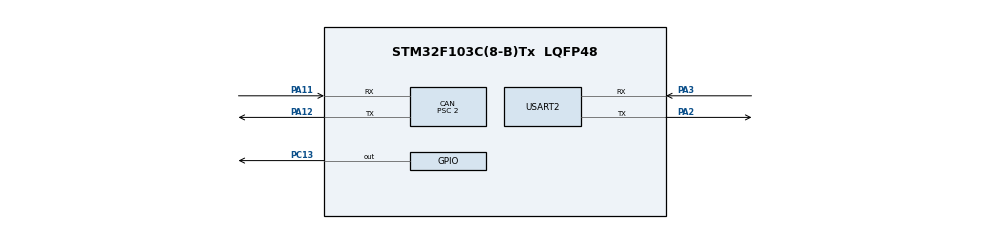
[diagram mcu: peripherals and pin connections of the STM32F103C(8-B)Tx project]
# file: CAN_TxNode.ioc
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CAN.BS1=CAN_BS1_13TQ
CAN.BS2=CAN_BS2_2TQ
CAN.CalculateBaudRate=250000
CAN.CalculateTimeBit=4000
CAN.CalculateTimeQuantum=250.0
CAN.NART=DISABLE
CAN.Prescaler=2
Mcu.Family=STM32F1
Mcu.Name=STM32F103C(8-B)Tx
Mcu.Package=LQFP48
NVIC.PriorityGroup=NVIC_PRIORITYGROUP_4
PA11.Mode=CAN_Activate
PA11.Signal=CAN_RX
PA12.Mode=CAN_Activate
PA12.Signal=CAN_TX
PA13.Mode=Serial_Wire
PA13.Signal=SYS_JTMS-SWDIO
PA14.Mode=Serial_Wire
PA14.Signal=SYS_JTCK-SWCLK
PA2.Mode=Asynchronous
PA2.Signal=USART2_TX
PA3.Mode=Asynchronous
PA3.Signal=USART2_RX
PC13-TAMPER-RTC.Signal=GPIO_Output
ProjectManager.HeapSize=0x200
ProjectManager.StackSize=0x400
ProjectManager.TargetToolchain=CMake
RCC.APB1Freq_Value=8000000
RCC.APB2Freq_Value=8000000
USART2.VirtualMode=VM_ASYNC
board=custom

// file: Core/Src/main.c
/* USER CODE BEGIN Header */
/**
  ******************************************************************************
  * @file           : main.c
  * @brief          : Main program body
  ******************************************************************************
  * @attention
  *
  * Copyright (c) 2025 STMicroelectronics.
  * All rights reserved.
  *
  * This software is licensed under terms that can be found in the LICENSE file
  * in the root directory of this software component.
  * If no LICENSE file comes with this software, it is provided AS-IS.
  *
  ******************************************************************************
  */
/* USER CODE END Header */
#include "main.h"

CAN_HandleTypeDef hcan;

UART_HandleTypeDef huart2;

void SystemClock_Config(void);
static void MX_GPIO_Init(void);
static void MX_CAN_Init(void);
static void MX_USART2_UART_Init(void);
/* USER CODE BEGIN PFP */
// void CAN_Tx(void);

/* USER CODE END PFP */

/* USER CODE BEGIN 0 */
void CAN_Filter(void);
void SendMotorCANMessage(uint8_t motor_id, uint8_t direction, uint8_t speed);

/* USER CODE END 0 */

int main(void)
{

  /* MCU Configuration--------------------------------------------------------*/

  /* Reset of all peripherals, Initializes the Flash interface and the Systick. */
  HAL_Init();

  /* Configure the system clock */
  SystemClock_Config();

  /* Initialize all configured peripherals */
  MX_GPIO_Init();
  MX_CAN_Init();
  MX_USART2_UART_Init();
  /* USER CODE BEGIN 2 */

  CAN_Filter();
  HAL_CAN_Start(&hcan);

  /* USER CODE END 2 */

  /* Infinite loop */
  while (1)
  {
    // CAN_Tx();
    for(int i = 0 ; i <= 100 ; i++){
      SendMotorCANMessage(0,0,i);
      HAL_Delay(50);
    }

    for(int i = 100 ; i >= 0 ; i--){
      SendMotorCANMessage(0,1,i);
      HAL_Delay(50);
    }

    for(int i = 0 ; i <= 100 ; i++){
      SendMotorCANMessage(1,0,i);
      HAL_Delay(50);
    }

    for(int i = 100 ; i >= 10 ; i--){
      SendMotorCANMessage(1,1,i);
      HAL_Delay(50);
    }
  }
}

void SystemClock_Config(void)
{
  RCC_OscInitTypeDef RCC_OscInitStruct = {0};
  RCC_ClkInitTypeDef RCC_ClkInitStruct = {0};

  /** Initializes the RCC Oscillators according to the specified parameters
  * in the RCC_OscInitTypeDef structure.
  */
  RCC_OscInitStruct.OscillatorType = RCC_OSCILLATORTYPE_HSI;
  RCC_OscInitStruct.HSIState = RCC_HSI_ON;
  RCC_OscInitStruct.HSICalibrationValue = RCC_HSICALIBRATION_DEFAULT;
  RCC_OscInitStruct.PLL.PLLState = RCC_PLL_NONE;
  if (HAL_RCC_OscConfig(&RCC_OscInitStruct) != HAL_OK)
  {
    Error_Handler();
  }

  /** Initializes the CPU, AHB and APB buses clocks
  */
  RCC_ClkInitStruct.ClockType = RCC_CLOCKTYPE_HCLK|RCC_CLOCKTYPE_SYSCLK
                              |RCC_CLOCKTYPE_PCLK1|RCC_CLOCKTYPE_PCLK2;
  RCC_ClkInitStruct.SYSCLKSource = RCC_SYSCLKSOURCE_HSI;
  RCC_ClkInitStruct.AHBCLKDivider = RCC_SYSCLK_DIV1;
  RCC_ClkInitStruct.APB1CLKDivider = RCC_HCLK_DIV1;
  RCC_ClkInitStruct.APB2CLKDivider = RCC_HCLK_DIV1;

  if (HAL_RCC_ClockConfig(&RCC_ClkInitStruct, FLASH_LATENCY_0) != HAL_OK)
  {
    Error_Handler();
  }
}

static void MX_CAN_Init(void)
{

  hcan.Instance = CAN1;
  hcan.Init.Prescaler = 2;
  hcan.Init.Mode = CAN_MODE_NORMAL;
  hcan.Init.SyncJumpWidth = CAN_SJW_1TQ;
  hcan.Init.TimeSeg1 = CAN_BS1_13TQ;
  hcan.Init.TimeSeg2 = CAN_BS2_2TQ;
  hcan.Init.TimeTriggeredMode = DISABLE;
  hcan.Init.AutoBusOff = DISABLE;
  hcan.Init.AutoWakeUp = DISABLE;
  hcan.Init.AutoRetransmission = ENABLE;
  hcan.Init.ReceiveFifoLocked = DISABLE;
  hcan.Init.TransmitFifoPriority = DISABLE;
  if (HAL_CAN_Init(&hcan) != HAL_OK)
  {
    Error_Handler();
  }

}

static void MX_USART2_UART_Init(void)
{

  huart2.Instance = USART2;
  huart2.Init.BaudRate = 115200;
  huart2.Init.WordLength = UART_WORDLENGTH_8B;
  huart2.Init.StopBits = UART_STOPBITS_1;
  huart2.Init.Parity = UART_PARITY_NONE;
  huart2.Init.Mode = UART_MODE_TX_RX;
  huart2.Init.HwFlowCtl = UART_HWCONTROL_NONE;
  huart2.Init.OverSampling = UART_OVERSAMPLING_16;
  if (HAL_UART_Init(&huart2) != HAL_OK)
  {
    Error_Handler();
  }

}

static void MX_GPIO_Init(void)
{
  GPIO_InitTypeDef GPIO_InitStruct = {0};

  /* GPIO Ports Clock Enable */
  __HAL_RCC_GPIOC_CLK_ENABLE();
  __HAL_RCC_GPIOA_CLK_ENABLE();

  /*Configure GPIO pin Output Level */
  HAL_GPIO_WritePin(GPIOC, GPIO_PIN_13, GPIO_PIN_SET);

  /*Configure GPIO pin : PC13 */
  GPIO_InitStruct.Pin = GPIO_PIN_13;
  GPIO_InitStruct.Mode = GPIO_MODE_OUTPUT_PP;
  GPIO_InitStruct.Pull = GPIO_NOPULL;
  GPIO_InitStruct.Speed = GPIO_SPEED_FREQ_LOW;
  HAL_GPIO_Init(GPIOC, &GPIO_InitStruct);

}

/* USER CODE BEGIN 4 */

void CAN_Filter(void){
  // CAN go to normal mode
  CAN_FilterTypeDef sFilterConfig;

  sFilterConfig.FilterBank = 0;
  sFilterConfig.FilterMode = CAN_FILTERMODE_IDMASK;
  sFilterConfig.FilterScale = CAN_FILTERSCALE_32BIT;
  sFilterConfig.FilterIdHigh = 0x0000;
  sFilterConfig.FilterIdLow = 0x0000;
  sFilterConfig.FilterMaskIdHigh = 0x0000;
  sFilterConfig.FilterMaskIdLow = 0x0000;
  sFilterConfig.FilterFIFOAssignment = CAN_FILTER_FIFO0;
  sFilterConfig.FilterActivation = ENABLE;
  sFilterConfig.SlaveStartFilterBank = 14;

  HAL_CAN_ConfigFilter(&hcan, &sFilterConfig);
}

CAN_TxHeaderTypeDef TxHeader;
uint8_t TxData[8];  // Can send up to 8 bytes
uint32_t TxMailbox;

void SendMotorCANMessage(uint8_t motor_id, uint8_t direction, uint8_t speed)
{
    TxHeader.StdId = 0x450;
    TxHeader.IDE = CAN_ID_STD;
    TxHeader.RTR = CAN_RTR_DATA;
    TxHeader.DLC = 3;
    TxHeader.TransmitGlobalTime = DISABLE;

    TxData[0] = motor_id;
    TxData[1] = direction;
    TxData[2] = speed;

    if (HAL_CAN_GetTxMailboxesFreeLevel(&hcan) > 0)
    {
        if (HAL_CAN_AddTxMessage(&hcan, &TxHeader, TxData, &TxMailbox) != HAL_OK)
        {
          Error_Handler();
        }
        HAL_UART_Transmit(&huart2,(uint8_t*)"Sent!\r\n",7,HAL_MAX_DELAY);
    }
}

// void CAN_Tx(void){
//   CAN_TxHeaderTypeDef TxHeader;
//   uint8_t TxData[] = {'O','r','i','o','n'};
//   uint32_t TxMailbox;

//   TxHeader.StdId = 0x450;
//   TxHeader.IDE = CAN_ID_STD;
//   TxHeader.RTR = CAN_RTR_DATA;
//   TxHeader.DLC = 5;

//   while(HAL_CAN_GetTxMailboxesFreeLevel(&hcan) == 0); // Wait for a free mailbox

//   if(HAL_CAN_AddTxMessage(&hcan,&TxHeader,TxData,&TxMailbox) != HAL_OK){
//     Error_Handler();
//   }

//   HAL_UART_Transmit(&huart2,(uint8_t*)"Sent!\r\n",7,HAL_MAX_DELAY);
// }
/* USER CODE END 4 */

void Error_Handler(void)
{
  __disable_irq();
  while (1)
  {
  }
}
